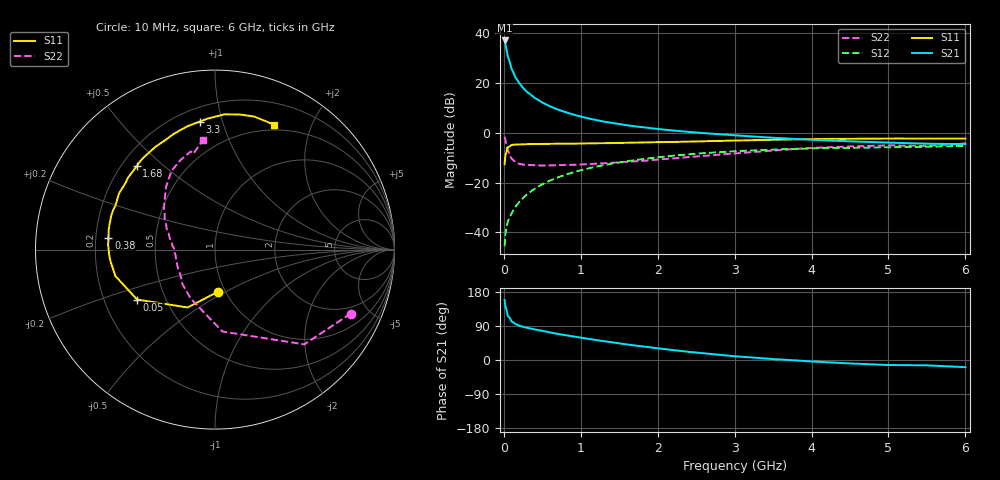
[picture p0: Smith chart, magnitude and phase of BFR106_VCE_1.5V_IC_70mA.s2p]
! (c) 2015  Infineon Technologies AG, Munich
! Infineon Technologies  Discrete & RF Semiconductors
! BFR106
! VCE =  1.5 V,  IC =  70 mA
! Common Emitter S-Parameters:  Nov 2015
# GHz  S  MA  R  50
!  f  S11  S21  S12  S22
! GHz  MAG  ANG  MAG  ANG  MAG  ANG  MAG  ANG
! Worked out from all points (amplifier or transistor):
!   210 points, 10 MHz to 6 GHz, reference 50 ohm
!   highest |S21| = 37.2 dB at 10 MHz (marker M1)
!   |S21| within 3 dB of that: start of sweep to 30.17 MHz
!   unconditionally stable (mu >= 1): 181.5 MHz to 3.463 GHz; 4.169 GHz to end of sweep
!   at 185 MHz: K = 1.00, MAG = 24.2 dB, |S12| = -28.3 dB
!   at 1.52 GHz: K = 1.07, MAG = 6.1 dB, |S12| = -11.8 dB
!   at 6 GHz: K = 1.02, MAG = -0.5 dB, |S12| = -5.2 dB
!   S11 on the Smith chart (normalised r, x): 10 MHz: 0.93, -0.46; 50 MHz: 0.34, -0.26; 380 MHz: 0.25, +0.05; 1.68 GHz: 0.26, +0.41; 3.3 GHz: 0.29, +0.85; 6 GHz: 0.44, +1.49
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0.01  0.235 -85.8  72.29 158.1  0.0053 75.7  0.8365 -25.2
0.02  0.3566 -115.3  60.67 141.6  0.0092 67.3  0.7254 -46.7
0.05  0.5155 -147.3  35.32 116.3  0.0162 57.4  0.4584 -84.8
0.1  0.5741 -165.1  19.45 101.7  0.0241 62.5  0.3054 -116.1
0.15  0.5847 -172.8  13.19 94.9  0.0326 66.4  0.2645 -133.4
0.2  0.59 -176.6  10.02 90.7  0.0409 69.2  0.2398 -143.3
0.24  0.592 -179.6  8.404 88.2  0.0475 70.4  0.2328 -149.9
0.3  0.5961 177.5  6.707 85.1  0.058 71.6  0.2287 -156.4
0.38  0.597 173.7  5.401 81.8  0.0717 71.9  0.2243 -162.6
0.4  0.5976 172.7  5.078 80.7  0.0751 72.0  0.2236 -164.2
0.5  0.6029 169.2  4.084 76.6  0.0927 71.5  0.2214 -169.4
0.6  0.605 165.4  3.422 72.6  0.1104 70.4  0.222 -172.7
0.8  0.6088 159.0  2.611 65.6  0.1443 67.6  0.2279 -179.0
1.02  0.6146 151.8  2.094 58.4  0.1809 64.3  0.2336 176.3
1.3  0.6214 143.2  1.691 49.7  0.2255 59.3  0.2454 170.1
1.68  0.6379 133.1  1.373 38.9  0.2813 52.6  0.2679 162.8
2.02  0.6528 124.7  1.191 30.5  0.3264 46.4  0.2941 156.4
3.1  0.7086 100.5  0.876 8.5  0.4358 27.9  0.3973 134.8
3.3  0.7183 96.8  0.837 5.6  0.4502 24.7  0.42 131.1
4.1  0.757 84.6  0.718 -4.8  0.4921 13.0  0.5068 117.3
5.1  0.7715 72.5  0.632 -13.4  0.5179 1.6  0.5602 103.7
6  0.7697 64.6  0.6 -18.9  0.551 -7.2  0.6163 96.1
